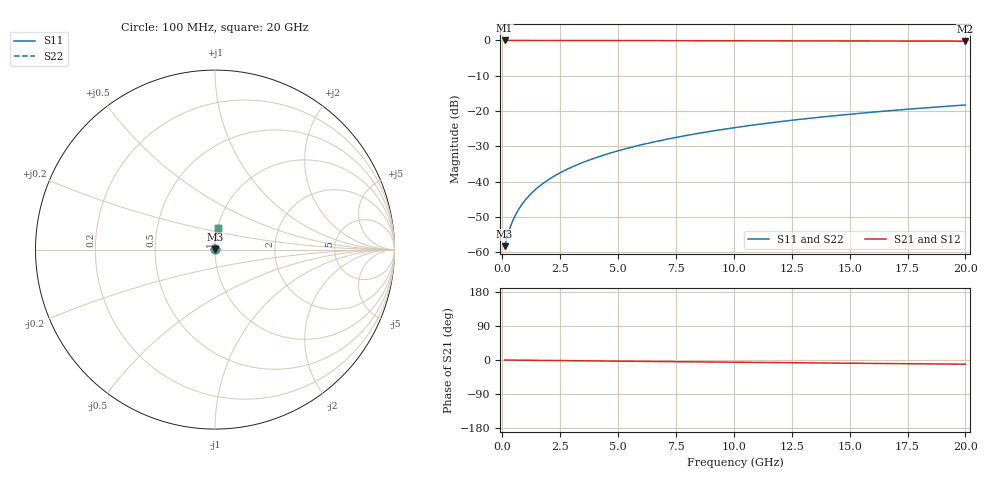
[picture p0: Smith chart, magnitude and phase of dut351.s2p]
! Touchstone file exported from HFSS 2024.1.0
!  File:  C:/UserFiles/LocalFiles/RDL_TSV_Batchsim/temp_RDL_top_351_1779608161.aedt
!  Generated:  03:38:34 PM May 24, 2026
!  Design:  RDL_top
!  Project:  temp_RDL_top_351_1779608161
!  Setup:  Setup1
!  Solution:  Sweep
! Variables:
!  dtsv = 10.80580581um
!  hbump = 3um
!  htsv = 85.29um
!  ldown = 100um
!  lrdl = 131.97um
!  p = 40
!  p1 = 44.02um
!  rhole = 1um
!  t = 450um
!  tdown = 3.915915916um
!  trdl = 2.74um
!  wdown = 15.38538539um
!  wrdl = 22.43um
# GHz S MA R 50.000000
! Terminal data exported
! Port[1] = Box2_T1
! Port[2] = Box2_T2
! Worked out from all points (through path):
!   200 points, 100 MHz to 20 GHz, reference 50 ohm
!   highest |S21| = -0.01 dB at 100 MHz (marker M1); lowest = -0.2 dB at 20 GHz (marker M2)
!   group delay of S21, straight-line fit = 1.53 ps
!   lowest |S11| = -58.3 dB at 100 MHz (marker M3), VSWR 1.00, Z = 50.1 + j0.0588 ohm
!   |S11| at or under -10 dB: start of sweep to end of sweep
!   |S22| runs from -58.3 to -18.3 dB; largest |S21 - S12| = 3.5e-15
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0.1  0.001219 28.7  0.9989 -0.1  0.9989 -0.1  0.001219 28.7
! Gamma 0 0 0 0
! Port Impedance 50 0 50 0
0.3  0.002057 56.4  0.9988 -0.2  0.9988 -0.2  0.002057 56.4
0.4  0.00254 62.5  0.9988 -0.3  0.9988 -0.3  0.00254 62.5
0.5  0.00303 66.6  0.9987 -0.3  0.9987 -0.3  0.00303 66.6
0.6  0.003522 69.6  0.9987 -0.4  0.9987 -0.4  0.003522 69.6
0.8  0.004516 73.9  0.9986 -0.5  0.9986 -0.5  0.004516 73.9
1  0.005521 76.9  0.9985 -0.6  0.9985 -0.6  0.005521 76.9
1.2  0.006538 79.0  0.9984 -0.8  0.9984 -0.8  0.006538 79.0
1.4  0.007565 80.7  0.9983 -0.9  0.9983 -0.9  0.007565 80.7
1.7  0.009123 82.5  0.9982 -1.1  0.9982 -1.1  0.009123 82.5
2.2  0.01176 84.7  0.9979 -1.4  0.9979 -1.4  0.01176 84.7
2.8  0.01498 86.3  0.9974 -1.7  0.9974 -1.7  0.01498 86.3
3.5  0.01881 87.6  0.9968 -2.2  0.9968 -2.2  0.01881 87.6
4.2  0.02274 88.5  0.996 -2.6  0.996 -2.6  0.02274 88.5
5  0.02733 89.1  0.9951 -3.1  0.9951 -3.1  0.02733 89.1
5.9  0.03262 89.6  0.994 -3.6  0.994 -3.6  0.03262 89.6
6.8  0.03803 89.7  0.9928 -4.1  0.9928 -4.1  0.03803 89.7
8.4  0.04789 89.6  0.9907 -5.0  0.9907 -5.0  0.04789 89.6
10.1  0.05861 89.0  0.9884 -5.9  0.9884 -5.9  0.05861 89.0
13.4  0.07973 87.3  0.984 -7.7  0.984 -7.7  0.07973 87.3
16.7  0.1009 85.3  0.9799 -9.4  0.9799 -9.4  0.1009 85.3
20  0.1219 83.2  0.9758 -11.1  0.9758 -11.1  0.1219 83.2
